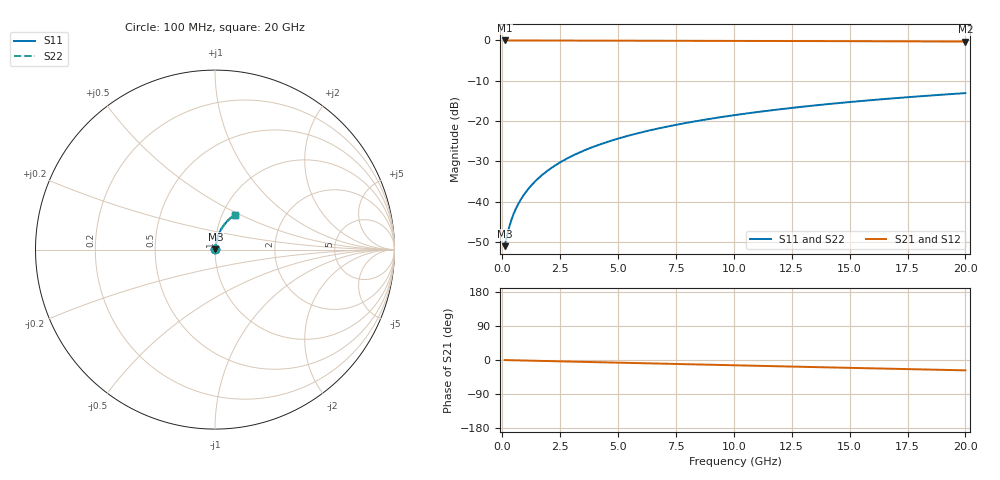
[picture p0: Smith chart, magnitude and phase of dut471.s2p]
! Touchstone file exported from HFSS 2026.1.0
!  File:  C:/ffzhzh/LocalFiles/Ansys_Project_Files/temp_train_TMRDL_471_1783006218_4048.aedt
!  Generated:  11:31:37 PM Jul  2, 2026
!  Design:  TMRDL
!  Project:  temp_train_TMRDL_471_1783006218_4048
! Variables:
!  h_bsmrdl = 2um
!  h_ox = 20um
!  h_rdl = 5um
!  h_sub = 80um
!  h_tmrdl = 2.82um
!  h_tsv = 80um
!  h_via = 3um
!  l_bsmrdl = 300um
!  l_sub = 800.82um
!  l_tmrdl = 400.82um
!  m_sub = 200um
!  pitch = 40.92um
!  r_tsv = 6um
!  s_tmrdl = 10um
!  w_bsmrdl = 18um
!  w_sub = 500um
!  w_tmrdl = 23.46um
!  x_tsv_center1 = 412.55um
!  x_tsv_center2 = 730.55um
!  x_tsv_center3 = 1154.83um
!  x_tsv_center4 = 1472.83um
!  x_tsv_center5 = 1897.11um
!  x_tsv_center6 = 2215.11um
# GHz S MA R 50.000000
! Terminal data exported
! Port[1] = TM_RDL1_1_T1
! Port[2] = TM_RDL1_1_T2
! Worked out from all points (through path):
!   200 points, 100 MHz to 20 GHz, reference 50 ohm
!   highest |S21| = -0.02 dB at 100 MHz (marker M1); lowest = -0.3 dB at 20 GHz (marker M2)
!   group delay of S21, straight-line fit = 3.79 ps
!   lowest |S11| = -51.0 dB at 100 MHz (marker M3), VSWR 1.01, Z = 50.2 + j0.142 ohm
!   |S11| at or under -10 dB: start of sweep to end of sweep
!   |S22| runs from -51.0 to -13.1 dB; largest |S21 - S12| = 3.7e-15
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0.1  0.002807 30.1  0.9976 -0.2  0.9976 -0.2  0.002807 30.1
! Gamma 0 0 0 0
! Port Impedance 50 0 50 0
0.2  0.003763 47.4  0.9975 -0.3  0.9975 -0.3  0.003763 47.4
0.3  0.004882 56.5  0.9973 -0.4  0.9973 -0.4  0.004882 56.5
0.4  0.006031 61.8  0.9972 -0.6  0.9972 -0.6  0.006031 61.8
0.5  0.00718 65.4  0.9971 -0.7  0.9971 -0.7  0.00718 65.4
0.6  0.008327 68.1  0.997 -0.9  0.997 -0.9  0.008327 68.1
0.8  0.01063 71.8  0.9968 -1.2  0.9968 -1.2  0.01063 71.8
1.1  0.01411 75.2  0.9967 -1.6  0.9967 -1.6  0.01411 75.2
1.3  0.01646 76.6  0.9966 -1.9  0.9966 -1.9  0.01646 76.6
1.6  0.02 78.1  0.9965 -2.3  0.9965 -2.3  0.02 78.1
2.1  0.02596 79.4  0.9962 -3.0  0.9962 -3.0  0.02596 79.4
2.7  0.03313 80.0  0.9959 -3.8  0.9959 -3.8  0.03313 80.0
3.5  0.0427 80.0  0.9953 -5.0  0.9953 -5.0  0.0427 80.0
4.2  0.05104 79.6  0.9947 -5.9  0.9947 -5.9  0.05104 79.6
5  0.06053 79.0  0.994 -7.1  0.994 -7.1  0.06053 79.0
5.9  0.07111 78.1  0.993 -8.3  0.993 -8.3  0.07111 78.1
6.8  0.08161 77.1  0.9919 -9.6  0.9919 -9.6  0.0816 77.1
8.3  0.09885 75.3  0.9898 -11.6  0.9898 -11.6  0.09885 75.3
10.1  0.1191 73.0  0.9869 -14.1  0.9869 -14.1  0.1191 73.0
13.4  0.1551 68.8  0.9808 -18.6  0.9808 -18.6  0.1551 68.8
16.7  0.1893 64.6  0.9739 -23.0  0.9739 -23.0  0.1893 64.6
20  0.2218 60.4  0.9664 -27.3  0.9664 -27.3  0.2218 60.5
